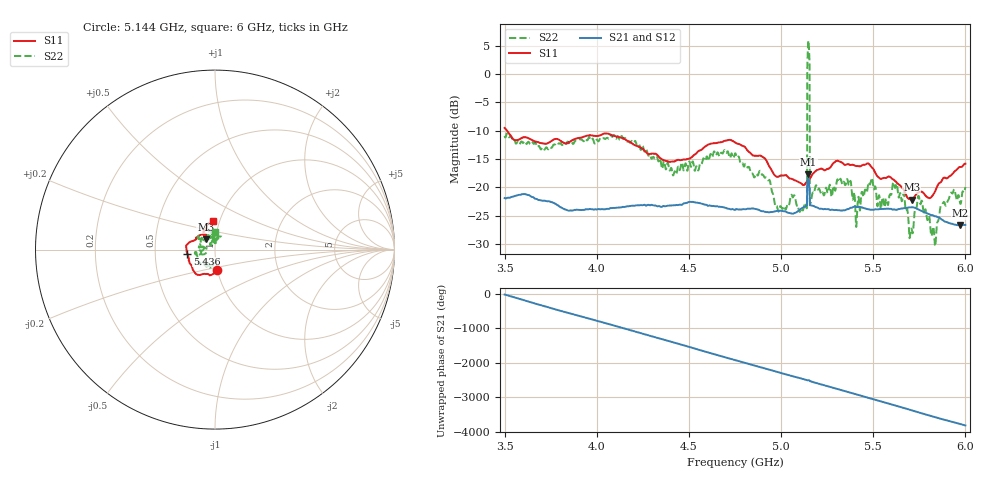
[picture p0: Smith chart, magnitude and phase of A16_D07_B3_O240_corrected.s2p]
! Created with skrf 1.9.0 (http://scikit-rf.org).
# Hz S RI R 50.0
!freq ReS11 ImS11 ReS21 ImS21 ReS12 ImS12 ReS22 ImS22
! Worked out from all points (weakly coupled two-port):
!   1601 points, 3.5 GHz to 6 GHz, reference 50 ohm
!   highest |S21| = -17.69 dB at 5.147 GHz (marker M1); lowest = -26.7 dB at 5.972 GHz (marker M2)
!   lowest |S11| = -22.2 dB at 5.709 GHz (marker M3), VSWR 1.17, Z = 44.8 + j5.25 ohm
!   |S11| at or under -10 dB: 3.514 GHz to end of sweep
!   |S22| runs from -30.4 to 5.9 dB; largest |S21 - S12| = 0.0012
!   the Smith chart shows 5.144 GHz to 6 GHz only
!   S11 on the Smith chart (normalised r, x): 5.144 GHz: 1.00, -0.23; 5.436 GHz: 0.73, -0.03; 6 GHz: 0.93, +0.31
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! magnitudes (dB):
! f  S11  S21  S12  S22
! 3.5 GHz  -9.5  -21.9  -21.9  -10.9
! 3.917 GHz  -11.2  -24.0  -24.0  -11.5
! 4.334 GHz  -14.5  -23.3  -23.3  -15.4
! 4.75 GHz  -12.1  -24.0  -23.9  -14.0
! 4.93 GHz  -15.9  -24.4  -24.3  -18.8
! 4.98 GHz  -18.1  -24.2  -24.1  -23.6
! 5.109 GHz  -19.3  -23.7  -23.7  -23.7
! 5.128 GHz  -19.5  -23.4  -23.4  -22.9
! 5.144 GHz  -18.8  -18.7  -18.7  3.0
! 5.147 GHz  -18.8  -17.7  -17.7  5.6
! 5.155 GHz  -18.5  -20.7  -20.7  1.8
! 5.167 GHz  -17.8  -23.2  -23.2  -21.4
! 5.436 GHz  -16.2  -23.5  -23.5  -21.1
! 5.486 GHz  -16.2  -23.9  -23.9  -19.2
! 5.584 GHz  -18.1  -23.8  -23.8  -22.3
! 5.619 GHz  -18.8  -23.9  -23.9  -20.1
! 5.709 GHz  -22.2  -23.5  -23.5  -27.5
! 5.752 GHz  -20.8  -24.0  -24.0  -22.2
! 5.828 GHz  -21.1  -25.0  -25.0  -27.3
! 5.875 GHz  -18.6  -25.7  -25.7  -22.9
! 5.972 GHz  -16.4  -26.7  -26.6  -22.9
! 6 GHz  -15.8  -26.6  -26.6  -19.9
